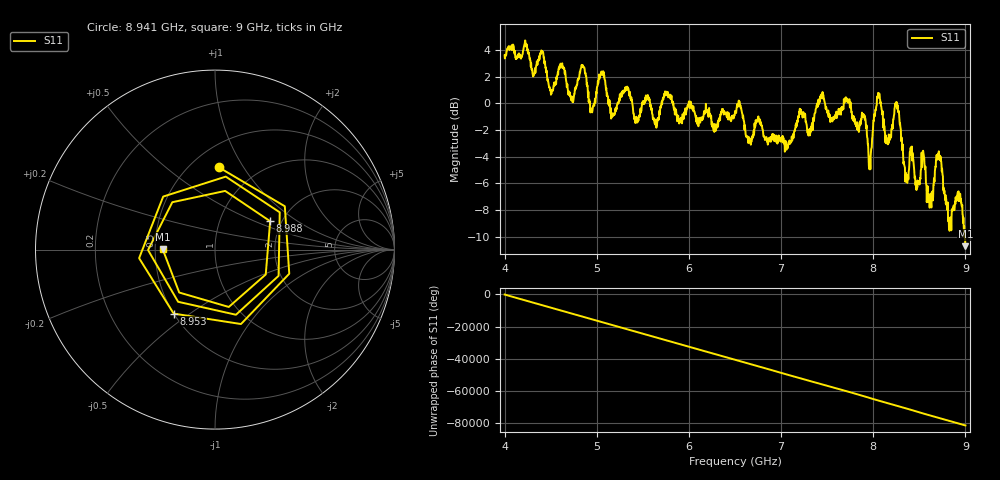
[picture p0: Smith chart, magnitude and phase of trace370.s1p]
! Created with skrf 1.8.0 (http://scikit-rf.org).
# Hz S RI R 50.0
!freq ReS11 ImS11
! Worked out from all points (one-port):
!   1601 points, 4 GHz to 9 GHz, reference 50 ohm
!   lowest |S11| = -10.7 dB at 9 GHz (marker M1), VSWR 1.82, Z = 27.4 + j0.118 ohm
!   |S11| at or under -10 dB: 8.990859 GHz to 8.991305 GHz (445.4 kHz wide, 0.00495 % of centre); 8.99614 GHz to end of sweep
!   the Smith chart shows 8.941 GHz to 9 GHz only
!   S11 on the Smith chart (normalised r, x): 8.941 GHz: 0.68, +0.79; 8.953 GHz: 0.50, -0.43; 8.988 GHz: 1.74, +0.63; 9 GHz: 0.55, +0.00
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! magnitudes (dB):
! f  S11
! 4 GHz  3.6
! 4.403 GHz  3.9
! 4.506 GHz  0.8
! 4.625 GHz  3.0
! 4.725 GHz  0.3
! 4.844 GHz  2.8
! 4.947 GHz  -0.6
! 5.05 GHz  2.4
! 5.169 GHz  -1.0
! 5.25 GHz  0.7
! 5.875 GHz  -1.3
! 6.5 GHz  -0.6
! 7.125 GHz  -2.6
! 7.441 GHz  0.4
! 7.75 GHz  0.0
! 7.962 GHz  -4.0
! 8.05 GHz  0.4
! 8.156 GHz  -2.8
! 8.256 GHz  0.1
! 8.375 GHz  -5.7
! 8.544 GHz  -3.7
! 8.622 GHz  -6.8
! 8.712 GHz  -3.6
! 8.825 GHz  -8.6
! 8.941 GHz  -6.8
! 8.953 GHz  -7.4
! 8.988 GHz  -9.2
! 9 GHz  -10.7
